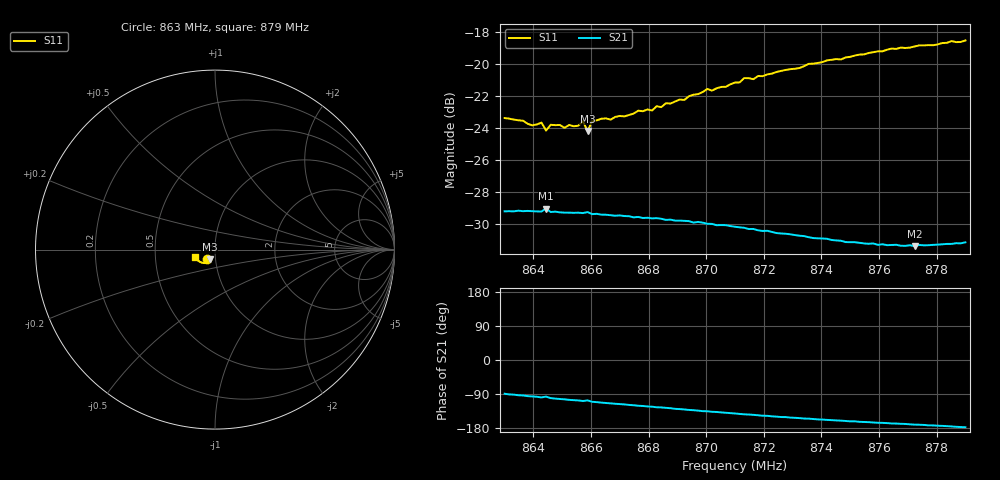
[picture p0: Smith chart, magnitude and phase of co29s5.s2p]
# HZ S RI R 50
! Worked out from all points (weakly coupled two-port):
!   101 points, 863 MHz to 879 MHz, reference 50 ohm
!   highest |S21| = -29.01 dB at 864.44 MHz (marker M1); lowest = -31.4 dB at 877.24 MHz (marker M2)
!   lowest |S11| = -24.2 dB at 865.88 MHz (marker M3), VSWR 1.13, Z = 46.9 - j5.16 ohm
!   |S11| at or under -10 dB: start of sweep to end of sweep
!   S12 and S22 are empty: the file has one direction only
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8.63e8  -0.0443 -0.0514  0.00056 -0.0347  0 0  0 0
8.6364e8  -0.0415 -0.052  -0.00217 -0.0347  0 0  0 0
8.6396e8  -0.0398 -0.0506  -0.0037 -0.0346  0 0  0 0
8.6428e8  -0.0381 -0.0535  -0.00525 -0.0343  0 0  0 0
8.6444e8  -0.0328 -0.0527  -0.00405 -0.0352  0 0  0 0
8.646e8  -0.038 -0.0523  -0.00637 -0.034  0 0  0 0
8.6508e8  -0.0351 -0.0526  -0.00818 -0.0334  0 0  0 0
8.6556e8  -0.0347 -0.054  -0.00992 -0.0329  0 0  0 0
8.6572e8  -0.0343 -0.0567  -0.0107 -0.0326  0 0  0 0
8.6588e8  -0.0287 -0.0547  -0.00986 -0.0331  0 0  0 0
8.6604e8  -0.0333 -0.0574  -0.0118 -0.0319  0 0  0 0
8.6668e8  -0.033 -0.0584  -0.014 -0.0308  0 0  0 0
8.6844e8  -0.0347 -0.0646  -0.019 -0.0269  0 0  0 0
8.7004e8  -0.042 -0.0723  -0.0226 -0.0224  0 0  0 0
8.702e8  -0.0426 -0.0708  -0.0231 -0.0218  0 0  0 0
8.71e8  -0.0468 -0.074  -0.0242 -0.0195  0 0  0 0
8.7132e8  -0.0492 -0.0758  -0.0248 -0.0184  0 0  0 0
8.7164e8  -0.0499 -0.0745  -0.025 -0.0177  0 0  0 0
8.7372e8  -0.0667 -0.0748  -0.0262 -0.0117  0 0  0 0
8.7644e8  -0.0918 -0.0636  -0.0266 -0.00588  0 0  0 0
8.7724e8  -0.0976 -0.0577  -0.0267 -0.00444  0 0  0 0
8.79e8  -0.1109 -0.0413  -0.0278 -0.00122  0 0  0 0
